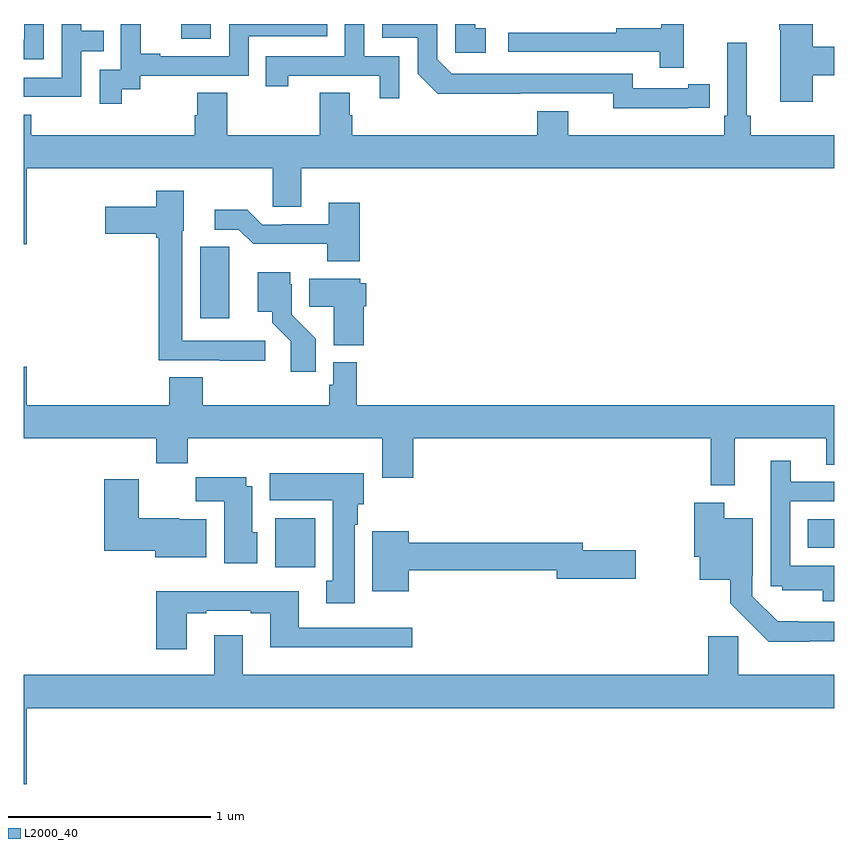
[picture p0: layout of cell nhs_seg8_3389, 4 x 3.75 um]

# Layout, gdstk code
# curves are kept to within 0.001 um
import gdstk
lib = gdstk.Library(unit=1e-6, precision=1e-09)
def R(c, l, rs):  # rectangles x0, y0, x1, y1
    for r in rs: c.add(gdstk.rectangle(r[:2], r[2:], *l))
def P(c, l, *ps):  # polygons
    for p in ps: c.add(gdstk.Polygon(p, *l))
L2000_40 = (2000, 40)

nhs_seg8_3389 = lib.new_cell('nhs_seg8_3389')
R(nhs_seg8_3389, L2000_40, [(322.241,1093.22,322.438,1093.462), (324.868,1093.316,325,1093.456), (321.777,1095.828,321.924,1095.9)])
P(nhs_seg8_3389, L2000_40, [(324.893,1095.646),(325,1095.646),(325,1095.788),(324.893,1095.788),(324.893,1095.9),(324.727,1095.9),(324.727,1095.871),(324.734,1095.871),(324.734,1095.516),(324.893,1095.516)],
  [(324.257,1095.9),(324.147,1095.9),(324.147,1095.878),(323.923,1095.878),(323.923,1095.858),(323.391,1095.858),(323.391,1095.762),(324.139,1095.762),(324.139,1095.684),(324.257,1095.684)],
  [(324.278,1095.486),(324.386,1095.486),(324.386,1095.602),(324.278,1095.602),(324.278,1095.582),(324.006,1095.582),(324.006,1095.654),(323.112,1095.654),(323.04,1095.726),(323.04,1095.9),(322.77,1095.9),(322.77,1095.831),(322.944,1095.831),(322.944,1095.654),(323.042,1095.557),(323.91,1095.558),(323.91,1095.485)],
  [(321.099,1095.9),(321.003,1095.9),(321.003,1095.822),(321,1095.822),(321,1095.726),(321.099,1095.726)],
  [(321.484,1095.577),(321.576,1095.577),(321.576,1095.645),(322.11,1095.645),(322.11,1095.84),(322.499,1095.84),(322.499,1095.9),(322.014,1095.9),(322.014,1095.741),(321.673,1095.741),(321.673,1095.754),(321.578,1095.754),(321.578,1095.9),(321.48,1095.9),(321.48,1095.675),(321.375,1095.675),(321.375,1095.507),(321.484,1095.507)],
  [(322.854,1095.741),(322.68,1095.741),(322.68,1095.9),(322.584,1095.9),(322.584,1095.741),(322.195,1095.741),(322.195,1095.594),(322.306,1095.594),(322.306,1095.645),(322.757,1095.645),(322.757,1095.534),(322.854,1095.534)],
  [(323.281,1095.879),(323.228,1095.879),(323.228,1095.9),(323.13,1095.9),(323.13,1095.759),(323.281,1095.759)],
  [(321.285,1095.765),(321.395,1095.765),(321.395,1095.866),(321.285,1095.866),(321.285,1095.9),(321.189,1095.9),(321.189,1095.636),(321,1095.636),(321,1095.54),(321.285,1095.54)],
  [(321.016,1095.188),(322.23,1095.188),(322.23,1094.998),(322.369,1094.998),(322.369,1095.188),(325,1095.188),(325,1095.352),(324.587,1095.352),(324.587,1095.448),(324.568,1095.448),(324.568,1095.808),(324.471,1095.808),(324.471,1095.448),(324.458,1095.448),(324.458,1095.352),(323.686,1095.352),(323.686,1095.469),(323.534,1095.469),(323.534,1095.352),(322.622,1095.352),(322.622,1095.45),(322.609,1095.45),(322.609,1095.56),(322.462,1095.56),(322.462,1095.352),(322.005,1095.352),(322.005,1095.56),(321.857,1095.56),(321.857,1095.45),(321.845,1095.45),(321.845,1095.352),(321.038,1095.352),(321.038,1095.451),(321,1095.451),(321,1094.814),(321.016,1094.814)],
  [(322.192,1094.337),(321.783,1094.337),(321.783,1094.88),(321.79,1094.88),(321.79,1095.076),(321.654,1095.076),(321.654,1094.998),(321.402,1094.998),(321.402,1094.864),(321.654,1094.864),(321.654,1094.846),(321.667,1094.846),(321.667,1094.241),(321.967,1094.241),(321.967,1094.239),(322.192,1094.239)],
  [(322.658,1095.019),(322.505,1095.019),(322.505,1094.913),(322.276,1094.913),(322.276,1094.91),(322.176,1094.91),(322.103,1094.983),(321.942,1094.983),(321.942,1094.886),(322.062,1094.886),(322.133,1094.816),(322.498,1094.816),(322.498,1094.729),(322.658,1094.729)],
  [(322.015,1094.69),(322.014,1094.69),(322.014,1094.801),(321.872,1094.801),(321.872,1094.448),(322.015,1094.448)],
  [(322.442,1094.346),(322.323,1094.465),(322.323,1094.616),(322.315,1094.616),(322.315,1094.674),(322.154,1094.674),(322.154,1094.48),(322.226,1094.48),(322.226,1094.425),(322.317,1094.335),(322.317,1094.184),(322.442,1094.184)],
  [(322.679,1094.508),(322.691,1094.508),(322.691,1094.622),(322.662,1094.622),(322.662,1094.644),(322.408,1094.644),(322.408,1094.506),(322.529,1094.506),(322.529,1094.315),(322.679,1094.315)],
  [(324.509,1093.856),(324.959,1093.856),(324.959,1093.726),(325,1093.726),(325,1094.02),(322.643,1094.02),(322.643,1094.23),(322.527,1094.23),(322.527,1094.121),(322.507,1094.121),(322.507,1094.02),(321.884,1094.02),(321.884,1094.156),(321.719,1094.156),(321.719,1094.02),(321.016,1094.02),(321.016,1094.209),(321,1094.209),(321,1093.856),(321.653,1093.856),(321.653,1093.732),(321.809,1093.732),(321.809,1093.856),(322.769,1093.856),(322.769,1093.662),(322.922,1093.662),(322.922,1093.856),(324.391,1093.856),(324.391,1093.623),(324.509,1093.623)],
  [(325,1093.228),(324.783,1093.228),(324.783,1093.545),(325,1093.545),(325,1093.641),(324.784,1093.641),(324.784,1093.744),(324.687,1093.744),(324.687,1093.125),(324.744,1093.125),(324.744,1093.106),(324.944,1093.106),(324.944,1093.052),(325,1093.052)],
  [(322.633,1093.43),(322.648,1093.43),(322.648,1093.53),(322.678,1093.53),(322.678,1093.684),(322.214,1093.684),(322.214,1093.55),(322.526,1093.55),(322.526,1093.154),(322.493,1093.154),(322.493,1093.041),(322.633,1093.041)],
  [(322.153,1093.392),(322.129,1093.392),(322.129,1093.618),(322.099,1093.618),(322.099,1093.663),(321.85,1093.663),(321.85,1093.544),(321.989,1093.544),(321.989,1093.238),(322.153,1093.238)],
  [(321.901,1093.456),(321.768,1093.456),(321.768,1093.462),(321.568,1093.462),(321.568,1093.654),(321.398,1093.654),(321.398,1093.301),(321.65,1093.301),(321.65,1093.268),(321.901,1093.268)],
  [(324.875,1092.854),(325,1092.854),(325,1092.951),(324.72,1092.952),(324.594,1093.077),(324.594,1093.177),(324.597,1093.177),(324.597,1093.462),(324.457,1093.462),(324.457,1093.537),(324.308,1093.537),(324.308,1093.272),(324.335,1093.272),(324.335,1093.157),(324.486,1093.157),(324.486,1093.041),(324.676,1092.852),(324.875,1092.852)],
  [(322.9,1093.204),(323.63,1093.204),(323.63,1093.162),(324.019,1093.162),(324.019,1093.304),(323.758,1093.304),(323.758,1093.34),(322.9,1093.34),(322.9,1093.396),(322.721,1093.396),(322.721,1093.1),(322.9,1093.1)],
  [(321.805,1092.993),(321.901,1092.993),(321.901,1093.005),(322.121,1093.005),(322.121,1092.993),(322.217,1092.993),(322.217,1092.824),(322.918,1092.824),(322.918,1092.921),(322.357,1092.921),(322.357,1093.102),(321.653,1093.102),(321.653,1092.816),(321.805,1092.816)],
  [(321.016,1092.524),(325,1092.524),(325,1092.688),(324.527,1092.688),(324.527,1092.879),(324.377,1092.879),(324.377,1092.688),(322.081,1092.688),(322.081,1092.883),(321.941,1092.883),(321.941,1092.688),(321,1092.688),(321,1092.15),(321.016,1092.15)])

lib.write_gds('nhs_seg8_3389.gds')
